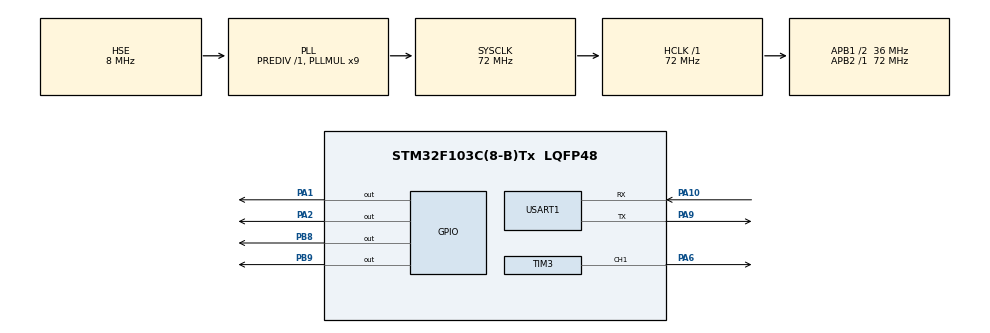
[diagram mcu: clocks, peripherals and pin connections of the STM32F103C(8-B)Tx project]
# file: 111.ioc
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Mcu.Family=STM32F1
Mcu.Name=STM32F103C(8-B)Tx
Mcu.Package=LQFP48
NVIC.PriorityGroup=NVIC_PRIORITYGROUP_4
PA1.PinState=GPIO_PIN_SET
PA1.Signal=GPIO_Output
PA10.Mode=Asynchronous
PA10.Signal=USART1_RX
PA13.Mode=Serial_Wire
PA13.Signal=SYS_JTMS-SWDIO
PA14.Mode=Serial_Wire
PA14.Signal=SYS_JTCK-SWCLK
PA2.GPIO_PuPd=GPIO_PULLUP
PA2.Signal=GPIO_Output
PA6.Signal=S_TIM3_CH1
PA9.Mode=Asynchronous
PA9.Signal=USART1_TX
PB8.GPIO_ModeDefaultOutputPP=GPIO_MODE_OUTPUT_OD
PB8.GPIO_PuPd=GPIO_NOPULL
PB8.Signal=GPIO_Output
PB9.GPIO_ModeDefaultOutputPP=GPIO_MODE_OUTPUT_OD
PB9.GPIO_PuPd=GPIO_NOPULL
PB9.Signal=GPIO_Output
PC14-OSC32_IN.Mode=LSE-External-Oscillator
PC14-OSC32_IN.Signal=RCC_OSC32_IN
PC15-OSC32_OUT.Mode=LSE-External-Oscillator
PC15-OSC32_OUT.Signal=RCC_OSC32_OUT
PD0-OSC_IN.Mode=HSE-External-Oscillator
PD0-OSC_IN.Signal=RCC_OSC_IN
PD1-OSC_OUT.Mode=HSE-External-Oscillator
PD1-OSC_OUT.Signal=RCC_OSC_OUT
ProjectManager.HeapSize=0x200
ProjectManager.StackSize=0x400
ProjectManager.TargetToolchain=MDK-ARM V5.32
RCC.ADCPresc=RCC_ADCPCLK2_DIV6
RCC.AHBFreq_Value=72000000
RCC.APB1CLKDivider=RCC_HCLK_DIV2
RCC.APB1Freq_Value=36000000
RCC.APB1TimFreq_Value=72000000
RCC.APB2Freq_Value=72000000
RCC.APB2TimFreq_Value=72000000
RCC.HCLKFreq_Value=72000000
RCC.PLLMUL=RCC_PLL_MUL9
RCC.PLLSourceVirtual=RCC_PLLSOURCE_HSE
RCC.SYSCLKFreq_VALUE=72000000
RCC.SYSCLKSource=RCC_SYSCLKSOURCE_PLLCLK
RCC.USBFreq_Value=72000000
SH.S_TIM3_CH1.0=TIM3_CH1,PWM Generation1 CH1
TIM3.Channel-PWM\ Generation1\ CH1=TIM_CHANNEL_1
TIM3.Period=65535
TIM3.Prescaler=72-1
TIM3.Pulse-PWM\ Generation1\ CH1=50
USART1.VirtualMode=VM_ASYNC
VP_TIM3_VS_ClockSourceINT.Mode=Internal
board=custom

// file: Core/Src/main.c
/* USER CODE BEGIN Header */
/**
  ******************************************************************************
  * @file           : main.c
  * @brief          : Main program body
  ******************************************************************************
  * @attention
  *
  * Copyright (c) 2026 STMicroelectronics.
  * All rights reserved.
  *
  * This software is licensed under terms that can be found in the LICENSE file
  * in the root directory of this software component.
  * If no LICENSE file comes with this software, it is provided AS-IS.
  *
  ******************************************************************************
  */
/* USER CODE END Header */
#include "main.h"
#include "tim.h"
#include "usart.h"
#include "gpio.h"

/* USER CODE BEGIN Includes */
#include "Header.h"

/* USER CODE END Includes */

/* USER CODE BEGIN PV */
int fputc(int ch,FILE *f)
{
    HAL_UART_Transmit(&huart1,(uint8_t *)&ch,1,0xffff);
    return ch;
}
int fgetc(FILE *f)
{
    uint8_t ch=0;
    HAL_UART_Receive(&huart1,&ch,1,0xffff);
    return ch;
}
/* USER CODE END PV */

void SystemClock_Config(void);

int main(void)
{

  /* MCU Configuration--------------------------------------------------------*/

  /* Reset of all peripherals, Initializes the Flash interface and the Systick. */
  HAL_Init();

  /* Configure the system clock */
  SystemClock_Config();

  /* Initialize all configured peripherals */
  MX_GPIO_Init();
  MX_TIM3_Init();
  MX_USART1_UART_Init();
  /* USER CODE BEGIN 2 */
 OLED_Init();
 OLED_Clear();
//TIM3 1us计数
HAL_TIM_Base_Init(&htim3);
HAL_TIM_Base_Start(&htim3);

HAL_UART_Init(&huart1);
//HAL_UART_Transmit(&huart1,(uint8_t *)"hello",6,20);
//运行指示灯
  HAL_GPIO_WritePin(GPIOA,GPIO_PIN_1,GPIO_PIN_RESET);
  /* USER CODE END 2 */

  /* Infinite loop */
  /* USER CODE BEGIN WHILE */
  while (1)
  {
	  function();
	  HAL_Delay(1);
	  DHT_R_data();
	  if(time_OLED%1000 <100) //每隔0.9秒发送
	  {
	  printf("temperature%d\r\n",R_data[2]);
		  printf("humidity:%d\r\n",R_data[0]);
        printf("\r\n\n");
	  }

    /* USER CODE END WHILE */

  }
}

void SystemClock_Config(void)
{
  RCC_OscInitTypeDef RCC_OscInitStruct = {0};
  RCC_ClkInitTypeDef RCC_ClkInitStruct = {0};

  /** Initializes the RCC Oscillators according to the specified parameters
  * in the RCC_OscInitTypeDef structure.
  */
  RCC_OscInitStruct.OscillatorType = RCC_OSCILLATORTYPE_HSE;
  RCC_OscInitStruct.HSEState = RCC_HSE_ON;
  RCC_OscInitStruct.HSEPredivValue = RCC_HSE_PREDIV_DIV1;
  RCC_OscInitStruct.HSIState = RCC_HSI_ON;
  RCC_OscInitStruct.PLL.PLLState = RCC_PLL_ON;
  RCC_OscInitStruct.PLL.PLLSource = RCC_PLLSOURCE_HSE;
  RCC_OscInitStruct.PLL.PLLMUL = RCC_PLL_MUL9;
  if (HAL_RCC_OscConfig(&RCC_OscInitStruct) != HAL_OK)
  {
    Error_Handler();
  }

  /** Initializes the CPU, AHB and APB buses clocks
  */
  RCC_ClkInitStruct.ClockType = RCC_CLOCKTYPE_HCLK|RCC_CLOCKTYPE_SYSCLK
                              |RCC_CLOCKTYPE_PCLK1|RCC_CLOCKTYPE_PCLK2;
  RCC_ClkInitStruct.SYSCLKSource = RCC_SYSCLKSOURCE_PLLCLK;
  RCC_ClkInitStruct.AHBCLKDivider = RCC_SYSCLK_DIV1;
  RCC_ClkInitStruct.APB1CLKDivider = RCC_HCLK_DIV2;
  RCC_ClkInitStruct.APB2CLKDivider = RCC_HCLK_DIV1;

  if (HAL_RCC_ClockConfig(&RCC_ClkInitStruct, FLASH_LATENCY_2) != HAL_OK)
  {
    Error_Handler();
  }
}

void Error_Handler(void)
{
  __disable_irq();
  while (1)
  {
  }
}
